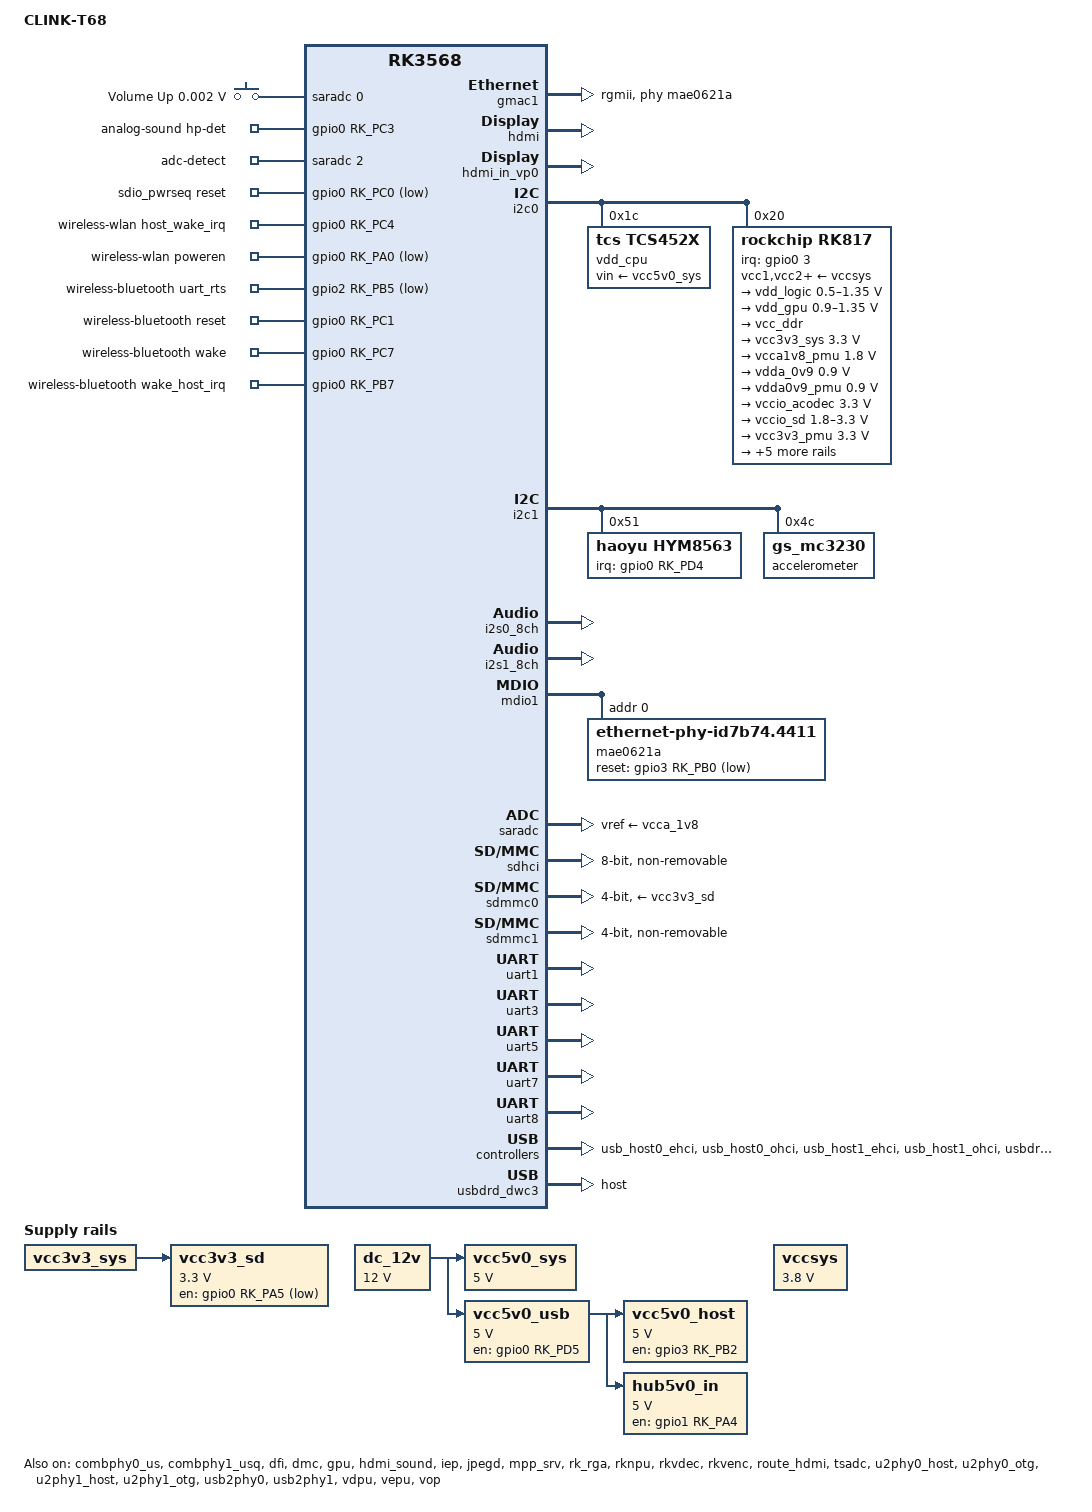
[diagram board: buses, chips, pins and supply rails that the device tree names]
// SPDX-License-Identifier: (GPL-2.0+ OR MIT)
/*
 * Copyright (c) 2022 Fuzhou Rockchip Electronics Co., Ltd.
 * Copyright (c) 2026 retro98boy <retro98boy@qq.com>
 */

/dts-v1/;

#include <dt-bindings/gpio/gpio.h>
#include <dt-bindings/input/input.h>
#include <dt-bindings/pinctrl/rockchip.h>
#include "rk3568.dtsi"
/*
 * Include configurations for the Linux system.
 * Replace this with rk3568-android.dtsi to
 * adapt this DTS for the Android system.
 */
#include "rk3568-linux.dtsi"

#define USE_PANFROST

/ {
	model = "CLINK-T68";
	compatible = "clink,t68", "rockchip,rk3568";

	adc-keys {
		compatible = "adc-keys";
		io-channels = <&saradc 0>;
		io-channel-names = "buttons";
		keyup-threshold-microvolt = <1800000>;
		poll-interval = <100>;

		button-volume-up {
			label = "Volume Up";
			linux,code = <KEY_VOLUMEUP>;
			press-threshold-microvolt = <1750>;
		};
	};

	aliases {
		/delete-property/ ethernet1;
		ethernet0 = &gmac1;
		rtc0 = &hym8563;
		rtc1 = &rk817;
	};

	analog-sound {
		compatible = "rockchip,multicodecs-card";
		rockchip,card-name = "clink-t68";
		rockchip,format = "i2s";
		rockchip,mclk-fs = <256>;
		rockchip,cpu = <&i2s1_8ch>;
		rockchip,codec = <&rk817_codec>;
		hp-det-gpio = <&gpio0 RK_PC3 GPIO_ACTIVE_HIGH>;
		io-channels = <&saradc 2>;
		io-channel-names = "adc-detect";
		pinctrl-names = "default";
		pinctrl-0 = <&hp_det>;
	};

	sdio_pwrseq: sdio-pwrseq {
		compatible = "mmc-pwrseq-simple";
		clocks = <&xin32k>;
		clock-names = "ext_clock";
		pinctrl-names = "default";
		pinctrl-0 = <&wifi_enable_h>;
		reset-gpios = <&gpio0 RK_PC0 GPIO_ACTIVE_LOW>;
		post-power-on-delay-ms = <200>;
	};

	wireless-wlan {
		compatible = "wlan-platdata";
		rockchip,grf = <&grf>;
		wifi_chip_type = "aic8800";
		WIFI,host_wake_irq = <&gpio0 RK_PC4 GPIO_ACTIVE_HIGH>;
		WIFI,poweren_gpio = <&gpio0 RK_PA0 GPIO_ACTIVE_LOW>;
		pinctrl-names = "default";
		pinctrl-0 = <&wifi_host_wake_irq>;
	};

	wireless-bluetooth {
		compatible = "bluetooth-platdata";
		bt_port = "/dev/ttyS1";
		clocks = <&xin32k>;
		clock-names = "ext_clock";
		uart_rts_gpios = <&gpio2 RK_PB5 GPIO_ACTIVE_LOW>;
		pinctrl-names = "default", "rts_gpio";
		pinctrl-0 = <&uart1m0_rtsn>;
		pinctrl-1 = <&uart1_gpios>;
		BT,reset_gpio = <&gpio0 RK_PC1 GPIO_ACTIVE_HIGH>;
		BT,wake_gpio = <&gpio0 RK_PC7 GPIO_ACTIVE_HIGH>;
		BT,wake_host_irq = <&gpio0 RK_PB7 GPIO_ACTIVE_HIGH>;
	};

	dc_12v: regulator-dc-12v {
		compatible = "regulator-fixed";
		regulator-name = "dc_12v";
		regulator-always-on;
		regulator-boot-on;
		regulator-min-microvolt = <12000000>;
		regulator-max-microvolt = <12000000>;
	};

	vccsys: regulator-vccsys {
		compatible = "regulator-fixed";
		regulator-name = "vcc3v8_sys";
		regulator-always-on;
		regulator-boot-on;
		regulator-min-microvolt = <3800000>;
		regulator-max-microvolt = <3800000>;
	};

	vcc3v3_sd: regulator-vcc3v3-sd {
		compatible = "regulator-fixed";
		regulator-name = "vcc3v3_sd";
		regulator-always-on;
		regulator-boot-on;
		regulator-min-microvolt = <3300000>;
		regulator-max-microvolt = <3300000>;
		enable-active-low;
		gpio = <&gpio0 RK_PA5 GPIO_ACTIVE_LOW>;
		vin-supply = <&vcc3v3_sys>;
		pinctrl-names = "default";
		pinctrl-0 = <&sdmmc0_pwr>;

		regulator-state-mem {
			regulator-off-in-suspend;
		};
	};

	vcc5v0_sys: regulator-vcc5v0-sys {
		compatible = "regulator-fixed";
		regulator-name = "vcc5v0_sys";
		regulator-always-on;
		regulator-boot-on;
		regulator-min-microvolt = <5000000>;
		regulator-max-microvolt = <5000000>;
		vin-supply = <&dc_12v>;
	};

	vcc5v0_usb: regulator-vcc5v0-usb {
		compatible = "regulator-fixed";
		regulator-name = "vcc5v0_usb";
		regulator-always-on;
		regulator-boot-on;
		regulator-min-microvolt = <5000000>;
		regulator-max-microvolt = <5000000>;
		enable-active-high;
		gpio = <&gpio0 RK_PD5 GPIO_ACTIVE_HIGH>;
		vin-supply = <&dc_12v>;

		regulator-state-mem {
			regulator-off-in-suspend;
		};
	};

	vcc5v0_host: regulator-vcc5v0-host {
		compatible = "regulator-fixed";
		regulator-name = "vcc5v0_host";
		regulator-boot-on;
		regulator-always-on;
		regulator-min-microvolt = <5000000>;
		regulator-max-microvolt = <5000000>;
		enable-active-high;
		gpio = <&gpio3 RK_PB2 GPIO_ACTIVE_HIGH>;
		vin-supply = <&vcc5v0_usb>;
		pinctrl-names = "default";
		pinctrl-0 = <&vcc5v0_host_en>;
	};

	hub5v0_in: regulator-hub5v0-in {
		compatible = "regulator-fixed";
		regulator-name = "hub5v0_in";
		regulator-boot-on;
		regulator-always-on;
		regulator-min-microvolt = <5000000>;
		regulator-max-microvolt = <5000000>;
		enable-active-high;
		gpio = <&gpio1 RK_PA4 GPIO_ACTIVE_HIGH>;
		vin-supply = <&vcc5v0_usb>;
		pinctrl-names = "default";
		pinctrl-0 = <&hub5v0_in_en>;

		regulator-state-mem {
			regulator-off-in-suspend;
		};
	};
};

&chosen {
	/* Remove the fixed root partition from rk3568-linux.dtsi */
	bootargs = "earlycon=uart8250,mmio32,0xfe660000 console=ttyFIQ0";
};

&combphy0_us {
	status = "okay";
};

&combphy1_usq {
	status = "okay";
};

&cpu0 {
	cpu-supply = <&vdd_cpu>;
};

&cpu1 {
	cpu-supply = <&vdd_cpu>;
};

&cpu2 {
	cpu-supply = <&vdd_cpu>;
};

&cpu3 {
	cpu-supply = <&vdd_cpu>;
};

&dfi {
	status = "okay";
};

&dmc {
	center-supply = <&vdd_logic>;
	status = "okay";
};

&gmac1 {
	phy-mode = "rgmii";
	clock_in_out = "output";
	assigned-clocks = <&cru SCLK_GMAC1_RX_TX>, <&cru SCLK_GMAC1>;
	assigned-clock-parents = <&cru SCLK_GMAC1_RGMII_SPEED>;
	assigned-clock-rates = <0>, <125000000>;
	pinctrl-names = "default";
	pinctrl-0 = <&gmac1m1_miim &gmac1m1_tx_bus2 &gmac1m1_rx_bus2
		     &gmac1m1_rgmii_clk &gmac1m1_rgmii_bus>;
	tx_delay = <0x30>;
	rx_delay = <0x20>;
	phy-handle = <&mae0621a>;
	status = "okay";
};

&gpu {
#ifdef USE_PANFROST
/* armbian/linux-rockchip already patches the shared rk356x.dtsi. */
#endif
	mali-supply = <&vdd_gpu>;
	status = "okay";
};

&hdmi {
	avdd-0v9-supply = <&vdda_0v9>;
	avdd-1v8-supply = <&vcca_1v8>;
	status = "okay";
};

&hdmi_in_vp0 {
	status = "okay";
};

&hdmi_in_vp1 {
	status = "disabled";
};

&hdmi_sound {
	status = "okay";
};

&i2c0 {
	status = "okay";

	vdd_cpu: regulator@1c {
		compatible = "tcs,tcs452x";
		fcs,suspend-voltage-selector = <0x01>;

		reg = <0x1c>;
		regulator-always-on;
		regulator-boot-on;
		regulator-init-microvolt = <900000>;
		regulator-max-microvolt = <1390000>;
		regulator-min-microvolt = <712500>;
		regulator-name = "vdd_cpu";
		regulator-ramp-delay = <2300>;
		vin-supply = <&vcc5v0_sys>;

		regulator-state-mem {
			regulator-off-in-suspend;
		};
	};

	rk817: pmic@20 {
		compatible = "rockchip,rk817";
		reg = <0x20>;
		interrupt-parent = <&gpio0>;
		interrupts = <3 IRQ_TYPE_LEVEL_LOW>;

		pinctrl-names = "default", "pmic-sleep",
				"pmic-power-off", "pmic-reset";
		pinctrl-0 = <&pmic_int>;
		pinctrl-1 = <&soc_slppin_slp>, <&rk817_slppin_slp>;
		pinctrl-2 = <&soc_slppin_gpio>, <&rk817_slppin_pwrdn>;
		pinctrl-3 = <&soc_slppin_gpio>, <&rk817_slppin_rst>;

		rockchip,system-power-controller;
		wakeup-source;
		#clock-cells = <1>;
		clock-output-names = "rk808-clkout1", "rk808-clkout2";
		/* Reset the complete PMIC. */
		pmic-reset-func = <0>;
		/* Preserve PMIC_POWER_EN across bootloader handoff. */
		not-save-power-en = <1>;

		vcc1-supply = <&vccsys>;
		vcc2-supply = <&vccsys>;
		vcc3-supply = <&vccsys>;
		vcc4-supply = <&vccsys>;
		vcc5-supply = <&vccsys>;
		vcc6-supply = <&vccsys>;
		vcc7-supply = <&vccsys>;
		vcc8-supply = <&vccsys>;
		vcc9-supply = <&vccsys>;

		pwrkey {
			status = "okay";
		};

		pinctrl_rk8xx: pinctrl_rk8xx {
			gpio-controller;
			#gpio-cells = <2>;

			rk817_slppin_null: rk817_slppin_null {
				pins = "gpio_slp";
				function = "pin_fun0";
			};

			rk817_slppin_slp: rk817_slppin_slp {
				pins = "gpio_slp";
				function = "pin_fun1";
			};

			rk817_slppin_pwrdn: rk817_slppin_pwrdn {
				pins = "gpio_slp";
				function = "pin_fun2";
			};

			rk817_slppin_rst: rk817_slppin_rst {
				pins = "gpio_slp";
				function = "pin_fun3";
			};
		};

		regulators {
			vdd_logic: DCDC_REG1 {
				regulator-always-on;
				regulator-boot-on;
				regulator-min-microvolt = <500000>;
				regulator-max-microvolt = <1350000>;
				regulator-init-microvolt = <900000>;
				regulator-ramp-delay = <6001>;
				regulator-initial-mode = <2>;
				regulator-name = "vdd_logic";

				regulator-state-mem {
					regulator-off-in-suspend;
				};
			};

			vdd_gpu: DCDC_REG2 {
				regulator-always-on;
				regulator-boot-on;
				regulator-min-microvolt = <900000>;
				regulator-max-microvolt = <1350000>;
				regulator-init-microvolt = <900000>;
				regulator-ramp-delay = <6001>;
				regulator-initial-mode = <2>;
				regulator-name = "vdd_gpu";

				regulator-state-mem {
					regulator-off-in-suspend;
				};
			};

			vcc_ddr: DCDC_REG3 {
				regulator-always-on;
				regulator-boot-on;
				regulator-initial-mode = <2>;
				regulator-name = "vcc_ddr";

				regulator-state-mem {
					regulator-on-in-suspend;
				};
			};

			vcc3v3_sys: DCDC_REG4 {
				regulator-always-on;
				regulator-boot-on;
				regulator-min-microvolt = <3300000>;
				regulator-max-microvolt = <3300000>;
				regulator-initial-mode = <2>;
				regulator-name = "vcc3v3_sys";

				regulator-state-mem {
					regulator-on-in-suspend;
					regulator-suspend-microvolt = <3300000>;
				};
			};

			vcca1v8_pmu: LDO_REG1 {
				regulator-always-on;
				regulator-boot-on;
				regulator-min-microvolt = <1800000>;
				regulator-max-microvolt = <1800000>;
				regulator-name = "vcca1v8_pmu";

				regulator-state-mem {
					regulator-on-in-suspend;
				};
			};

			vdda_0v9: LDO_REG2 {
				regulator-always-on;
				regulator-boot-on;
				regulator-min-microvolt = <900000>;
				regulator-max-microvolt = <900000>;
				regulator-name = "vdda_0v9";

				regulator-state-mem {
					regulator-off-in-suspend;
				};
			};

			vdda0v9_pmu: LDO_REG3 {
				regulator-always-on;
				regulator-boot-on;
				regulator-min-microvolt = <900000>;
				regulator-max-microvolt = <900000>;
				regulator-name = "vdda0v9_pmu";

				regulator-state-mem {
					regulator-on-in-suspend;
					regulator-suspend-microvolt = <900000>;
				};
			};

			vccio_acodec: LDO_REG4 {
				regulator-always-on;
				regulator-boot-on;
				regulator-min-microvolt = <3300000>;
				regulator-max-microvolt = <3300000>;
				regulator-name = "vccio_acodec";

				regulator-state-mem {
					regulator-off-in-suspend;
				};
			};

			vccio_sd: LDO_REG5 {
				regulator-always-on;
				regulator-boot-on;
				regulator-min-microvolt = <1800000>;
				regulator-max-microvolt = <3300000>;
				regulator-name = "vccio_sd";

				regulator-state-mem {
					regulator-off-in-suspend;
				};
			};

			vcc3v3_pmu: LDO_REG6 {
				regulator-always-on;
				regulator-boot-on;
				regulator-min-microvolt = <3300000>;
				regulator-max-microvolt = <3300000>;
				regulator-name = "vcc3v3_pmu";

				regulator-state-mem {
					regulator-on-in-suspend;
					regulator-suspend-microvolt = <3300000>;
				};
			};

			vcca_1v8: LDO_REG7 {
				regulator-always-on;
				regulator-boot-on;
				regulator-min-microvolt = <1800000>;
				regulator-max-microvolt = <1800000>;
				regulator-name = "vcca_1v8";

				regulator-state-mem {
					regulator-off-in-suspend;
				};
			};

			vdda2v8_image: LDO_REG8 {
				regulator-always-on;
				regulator-boot-on;
				regulator-min-microvolt = <2800000>;
				regulator-max-microvolt = <2800000>;
				regulator-name = "vdda2v8_image";

				regulator-state-mem {
					regulator-off-in-suspend;
				};
			};

			vcca1v8_image: LDO_REG9 {
				regulator-always-on;
				regulator-boot-on;
				regulator-min-microvolt = <1800000>;
				regulator-max-microvolt = <1800000>;
				regulator-name = "vcca1v8_image";

				regulator-state-mem {
					regulator-off-in-suspend;
				};
			};

			dcdc_boost: BOOST {
				regulator-always-on;
				regulator-boot-on;
				regulator-min-microvolt = <5000000>;
				regulator-max-microvolt = <5000000>;
				regulator-name = "boost";

				regulator-state-mem {
					regulator-off-in-suspend;
				};
			};

			otg_switch: OTG_SWITCH {
				regulator-name = "otg_switch";

				regulator-state-mem {
					regulator-off-in-suspend;
				};
			};
		};

		battery {
			status = "okay";
			compatible = "rk817,battery";
			ocv_table = <3400 3513 3578 3687 3734 3752 3763 3766 3771 3784 3804 3836 3885 3925 3962 4005 4063 4114 4169 4227 4303>;
			design_capacity = <5000>;
			design_qmax = <5500>;
			bat_res = <100>;
			sleep_enter_current = <150>;
			sleep_exit_current = <180>;
			sleep_filter_current = <100>;
			power_off_thresd = <3350>;
			zero_algorithm_vol = <3850>;
			max_soc_offset = <60>;
			monitor_sec = <5>;
			sample_res = <10>;
			virtual_power = <1>;
		};

		charger {
			compatible = "rk817,charger";
			min_input_voltage = <4400>;
			max_input_current = <2750>;
			max_chrg_current = <2000>;
			max_chrg_voltage = <4300>;
			chrg_term_mode = <0>;
			chrg_finish_cur = <300>;
			virtual_power = <1>;
		};

		rk817_codec: codec {
			#sound-dai-cells = <0>;
			compatible = "rockchip,rk817-codec";
			clocks = <&cru I2S1_MCLKOUT>;
			clock-names = "mclk";
			assigned-clocks = <&cru I2S1_MCLKOUT>, <&cru I2S1_MCLK_TX_IOE>;
			assigned-clock-rates = <12288000>;
			assigned-clock-parents = <&cru I2S1_MCLKOUT_TX>, <&cru I2S1_MCLKOUT_TX>;
			pinctrl-names = "default";
			pinctrl-0 = <&i2s1m0_mclk>;
			hp-volume = <20>;
			spk-volume = <36>;
			use-ext-amplifier;
			out-l2spk-r2hp;
			mic-in-differential;
			spk-ctl-gpios = <&gpio3 RK_PA1 GPIO_ACTIVE_HIGH>;
		};
	};
};

&i2c1 {
	status = "okay";

	hym8563: rtc@51 {
		compatible = "haoyu,hym8563";
		reg = <0x51>;
		interrupt-parent = <&gpio0>;
		interrupts = <RK_PD4 IRQ_TYPE_LEVEL_LOW>;
		pinctrl-names = "default";
		pinctrl-0 = <&rtc_int>;
		wakeup-source;
	};

	accelerometer@4c {
		compatible = "gs_mc3230";
		reg = <0x4c>;
		type = <2>;
		irq_enable = <0>;
		poll_delay_ms = <30>;
		layout = <3>;
		reprobe_en = <1>;
		power-off-in-suspend = <1>;
	};
};

&i2s0_8ch {
	status = "okay";
};

&i2s1_8ch {
	rockchip,trcm-sync-tx-only;
	pinctrl-names = "default";
	pinctrl-0 = <&i2s1m0_sclktx
		&i2s1m0_lrcktx
		&i2s1m0_sdi0
		&i2s1m0_sdo0>;
	status = "okay";
};

&iep {
	status = "okay";
};

&iep_mmu {
	status = "okay";
};

&jpegd {
	status = "okay";
};

&jpegd_mmu {
	status = "okay";
};

&mdio1 {
	mae0621a: ethernet-phy@0 {
		compatible = "ethernet-phy-id7b74.4411", "ethernet-phy-ieee802.3-c22";
		reg = <0>;
		reset-gpios = <&gpio3 RK_PB0 GPIO_ACTIVE_LOW>;
		reset-assert-us = <40000>;
		reset-deassert-us = <100000>;
	};
};

&mpp_srv {
	status = "okay";
};

&pinctrl {
	rtc {
		rtc_int: rtc-int {
			rockchip,pins = <0 RK_PD4 RK_FUNC_GPIO &pcfg_pull_none>;
		};
	};

	headphone {
		hp_det: hp-det {
			rockchip,pins = <0 RK_PC3 RK_FUNC_GPIO &pcfg_pull_none>;
		};
	};

	pmic {
		pmic_int: pmic-int {
			rockchip,pins = <0 RK_PA3 RK_FUNC_GPIO &pcfg_pull_up>;
		};

		soc_slppin_gpio: soc-slppin-gpio {
			rockchip,pins = <0 RK_PA2 RK_FUNC_GPIO &pcfg_output_low>;
		};

		soc_slppin_slp: soc-slppin-slp {
			rockchip,pins = <0 RK_PA2 1 &pcfg_pull_up>;
		};
	};

	sdio-pwrseq {
		wifi_enable_h: wifi-enable-h {
			rockchip,pins = <0 RK_PC0 RK_FUNC_GPIO &pcfg_pull_none>,
					<0 RK_PA0 RK_FUNC_GPIO &pcfg_output_low>;
		};
	};

	wireless-wlan {
		wifi_host_wake_irq: wifi-host-wake-irq {
			rockchip,pins = <0 RK_PC4 RK_FUNC_GPIO &pcfg_pull_down>;
		};
	};

	wireless-bluetooth {
		uart1_gpios: uart1-gpios {
			rockchip,pins = <2 RK_PB5 RK_FUNC_GPIO &pcfg_pull_none>;
		};
	};

	sdmmc {
		sdmmc0_pwr: sdmmc0-pwr {
			rockchip,pins = <0 RK_PA5 RK_FUNC_GPIO &pcfg_pull_down>;
		};
	};

	usb {
		vcc5v0_host_en: vcc5v0-host-en {
			rockchip,pins = <3 RK_PB2 RK_FUNC_GPIO &pcfg_pull_none>;
		};

		hub5v0_in_en: hub5v0-in-en {
			rockchip,pins = <1 RK_PA4 RK_FUNC_GPIO &pcfg_pull_none>,
					<1 RK_PB0 RK_FUNC_GPIO &pcfg_pull_up>;
		};
	};
};

&pmu_io_domains {
	pmuio2-supply = <&vcc3v3_pmu>;
	vccio1-supply = <&vccio_acodec>;
	vccio3-supply = <&vccio_sd>;
	vccio4-supply = <&vcc3v3_pmu>;
	vccio5-supply = <&vcc3v3_sys>;
	vccio6-supply = <&vcca_1v8>;
	vccio7-supply = <&vcc3v3_sys>;
	status = "okay";
};

&rk_rga {
	status = "okay";
};

&rknpu {
	rknpu-supply = <&vdd_gpu>;
	status = "okay";
};

&rknpu_mmu {
	status = "okay";
};

&rkvdec {
	status = "okay";
};

&rkvdec_mmu {
	status = "okay";
};

&rkvenc {
	venc-supply = <&vdd_logic>;
	status = "okay";
};

&rkvenc_mmu {
	status = "okay";
};

&route_hdmi {
	status = "okay";
	connect = <&vp0_out_hdmi>;
};

&saradc {
	vref-supply = <&vcca_1v8>;
	status = "okay";
};

&sdhci {
	max-frequency = <200000000>;
	bus-width = <8>;
	no-sdio;
	no-sd;
	non-removable;
	mmc-hs200-1_8v;
	full-pwr-cycle-in-suspend;
	status = "okay";
};

&sdmmc0 {
	no-sdio;
	no-mmc;
	bus-width = <4>;
	cap-mmc-highspeed;
	cap-sd-highspeed;
	disable-wp;
	pinctrl-names = "default";
	pinctrl-0 = <&sdmmc0_bus4 &sdmmc0_clk &sdmmc0_cmd &sdmmc0_det>;
	vmmc-supply = <&vcc3v3_sd>;
	vqmmc-supply = <&vccio_sd>;
	status = "okay";
};

&sdmmc1 {
	no-sd;
	no-mmc;
	bus-width = <4>;
	disable-wp;
	cap-sd-highspeed;
	cap-sdio-irq;
	keep-power-in-suspend;
	mmc-pwrseq = <&sdio_pwrseq>;
	non-removable;
	pinctrl-names = "default";
	pinctrl-0 = <&sdmmc1_bus4 &sdmmc1_cmd &sdmmc1_clk>;
	status = "okay";
};

&tsadc {
	status = "okay";
};

&u2phy0_host {
	phy-supply = <&vcc5v0_host>;
	status = "okay";
};

&u2phy0_otg {
	vbus-supply = <&otg_switch>;
	status = "okay";
};

&u2phy1_host {
	phy-supply = <&hub5v0_in>;
	status = "okay";
};

&u2phy1_otg {
	phy-supply = <&hub5v0_in>;
	status = "okay";
};

&uart1 {
	dma-names = "tx", "rx";
	pinctrl-names = "default";
	pinctrl-0 = <&uart1m0_xfer &uart1m0_ctsn>;
	uart-has-rtscts;
	status = "okay";
};

&uart3 {
	pinctrl-names = "default";
	pinctrl-0 = <&uart3m1_xfer>;
	status = "okay";
};

&uart5 {
	pinctrl-names = "default";
	pinctrl-0 = <&uart5m1_xfer>;
	status = "okay";
};

&uart7 {
	pinctrl-names = "default";
	pinctrl-0 = <&uart7m1_xfer>;
	status = "okay";
};

&uart8 {
	pinctrl-names = "default";
	pinctrl-0 = <&uart8m1_xfer>;
	status = "okay";
};

&usb2phy0 {
	status = "okay";
};

&usb2phy1 {
	status = "okay";
};

&usb_host0_ehci {
	status = "okay";
};

&usb_host0_ohci {
	status = "okay";
};

&usb_host1_ehci {
	status = "okay";
};

&usb_host1_ohci {
	status = "okay";
};

&usbdrd30 {
	status = "okay";
};

/* USB-OTG */
&usbdrd_dwc3 {
	dr_mode = "host";
	status = "okay";
};

&usbhost30 {
	status = "okay";
};

&usbhost_dwc3 {
	status = "okay";
};

&vdpu {
	status = "okay";
};

&vdpu_mmu {
	status = "okay";
};

&vepu {
	status = "okay";
};

&vepu_mmu {
	status = "okay";
};

&vop {
	vop-supply = <&vdd_logic>;
	status = "okay";
};

&vop_mmu {
	status = "okay";
};

&xin32k {
	pinctrl-names = "default";
	pinctrl-0 = <&clk32k_out0>;
};

/* Disable the unused camera capture pipeline. */
&csi2_dphy_hw {
	status = "disabled";
};

&csi2_dphy0 {
	status = "disabled";
};

&csi2_dphy1 {
	status = "disabled";
};

&csi2_dphy2 {
	status = "disabled";
};

&mipi_csi2 {
	status = "disabled";
};

&mipi_csi2_hw {
	status = "disabled";
};

&rkcif {
	status = "disabled";
};

&rkcif_mmu {
	status = "disabled";
};

&rkcif_dvp {
	status = "disabled";
};

&rkcif_dvp_sditf {
	status = "disabled";
};

&rkcif_mipi_lvds {
	status = "disabled";
};

&rkcif_mipi_lvds_sditf {
	status = "disabled";
};

&rkisp {
	status = "disabled";
};

&rkisp_mmu {
	status = "disabled";
};

&rkisp_vir0 {
	status = "disabled";
};

&rkisp_vir1 {
	status = "disabled";
};
